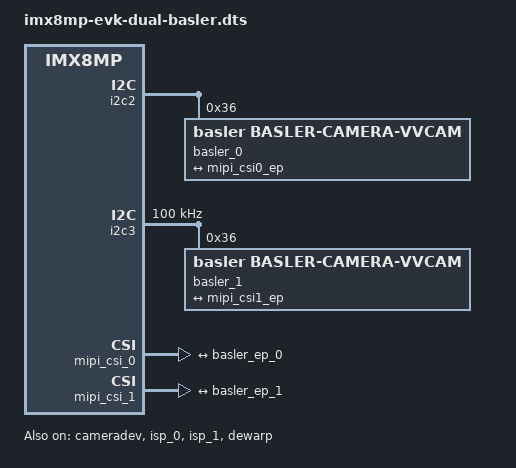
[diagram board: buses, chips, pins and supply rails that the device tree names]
// SPDX-License-Identifier: (GPL-2.0+ OR MIT)
/*
 * Copyright 2020-2021 NXP
 *
 * This program is free software; you can redistribute it and/or
 * modify it under the terms of the GNU General Public License
 * as published by the Free Software Foundation; either version 2
 * of the License, or (at your option) any later version.
 *
 * This program is distributed in the hope that it will be useful,
 * but WITHOUT ANY WARRANTY; without even the implied warranty of
 * MERCHANTABILITY or FITNESS FOR A PARTICULAR PURPOSE.  See the
 * GNU General Public License for more details.
 */

#include "imx8mp-evk.dts"

&i2c2 {
	/delete-node/ov5640_mipi@3c;

	basler_0: basler_camera_vvcam@36 {
		compatible = "basler,basler-camera-vvcam", "basler-camera-vvcam";
		reg = <0x36>;
		csi_id = <0x00>;
		status = "okay";

		port {
			basler_ep_0: endpoint {
				data-lanes = <1 2 3 4>;
				clock-lanes = <0>;
				link-frequencies = /bits/ 64 <750000000>;

				max-lane-frequency = /bits/ 64 <750000000>;
				max-pixel-frequency = /bits/ 64 <266000000>;
				max-data-rate = /bits/ 64 <0>;

				remote-endpoint = <&mipi_csi0_ep>;
			};
		};
	};
};

&i2c3 {
	clock-frequency = <100000>;
	pinctrl-names = "default";
	pinctrl-0 = <&pinctrl_i2c3>;
	status = "okay";

	/delete-node/ov5640_mipi@3c;

	basler_1: basler_camera_vvcam@36 {
		compatible = "basler,basler-camera-vvcam", "basler-camera-vvcam";
		reg = <0x36>;
		csi_id = <0x01>;
		status = "okay";

		port {
			basler_ep_1: endpoint {
				data-lanes = <1 2 3 4>;
				clock-lanes = <0>;
				link-frequencies = /bits/ 64 <750000000>;

				max-lane-frequency = /bits/ 64 <750000000>;
				max-pixel-frequency = /bits/ 64 <266000000>;
				max-data-rate = /bits/ 64 <0>;

				remote-endpoint = <&mipi_csi1_ep>;
			};
		};
	};
};

&cameradev {
	status = "okay";
};

&isi_0 {
	status = "disabled";
};

&isi_1 {
	status = "disabled";
};

&isp_0 {
	status = "okay";
};

&isp_1 {
	status = "okay";
};

&dewarp {
	status = "okay";
};

&mipi_csi_0 {
	status = "okay";
	clock-frequency = <266000000>;
	assigned-clock-parents = <&clk IMX8MP_SYS_PLL1_266M>;
	assigned-clock-rates = <266000000>;

	port@0 {
		reg = <0>;
		mipi_csi0_ep: endpoint {
			remote-endpoint = <&basler_ep_0>;
			data-lanes = <4>;
			csis-hs-settle = <16>;
		};
	};
};

&mipi_csi_1 {
	status = "okay";

	port@1 {
		reg = <1>;
		mipi_csi1_ep: endpoint {
			remote-endpoint = <&basler_ep_1>;
			data-lanes = <4>;
			csis-hs-settle = <16>;
		};
	};
};
